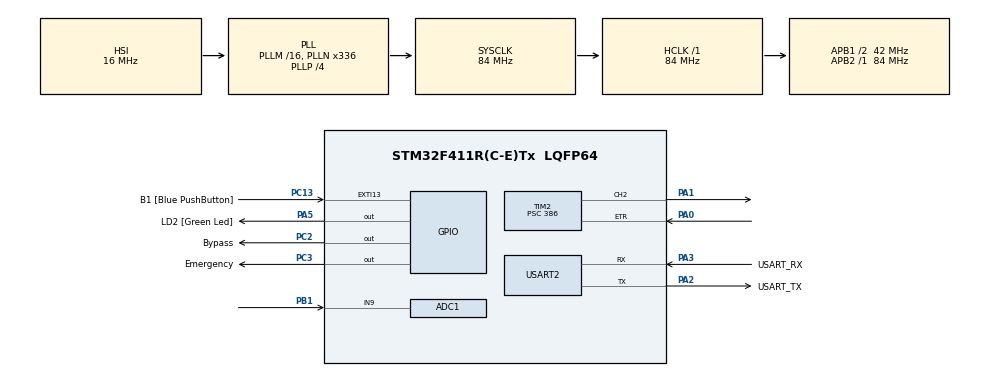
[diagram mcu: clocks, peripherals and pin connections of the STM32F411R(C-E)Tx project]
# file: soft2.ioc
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ADC1.Channel-0\#ChannelRegularConversion=ADC_CHANNEL_9
ADC1.NbrOfConversionFlag=1
ADC1.Rank-0\#ChannelRegularConversion=1
ADC1.SamplingTime-0\#ChannelRegularConversion=ADC_SAMPLETIME_3CYCLES
ADC1.master=1
Mcu.Family=STM32F4
Mcu.Name=STM32F411R(C-E)Tx
Mcu.Package=LQFP64
NVIC.PriorityGroup=NVIC_PRIORITYGROUP_0
NVIC.TIM2_IRQn=true\:0\:0\:false\:false\:true\:true\:true\:true
NVIC.TIM3_IRQn=true\:0\:0\:false\:false\:true\:true\:true\:true
NVIC.USART2_IRQn=true\:0\:0\:false\:false\:true\:true\:true\:true
PA0-WKUP.Signal=S_TIM2_CH1_ETR
PA1.Signal=S_TIM2_CH2
PA13.GPIO_Label=TMS
PA13.Mode=Serial_Wire
PA13.Signal=SYS_JTMS-SWDIO
PA14.GPIO_Label=TCK
PA14.Mode=Serial_Wire
PA14.Signal=SYS_JTCK-SWCLK
PA2.GPIO_Label=USART_TX
PA2.Mode=Asynchronous
PA2.Signal=USART2_TX
PA3.GPIO_Label=USART_RX
PA3.Mode=Asynchronous
PA3.Signal=USART2_RX
PA5.GPIO_Label=LD2 [Green Led]
PA5.Signal=GPIO_Output
PB1.Signal=ADCx_IN9
PB3.GPIO_Label=SWO
PB3.Signal=SYS_JTDO-SWO
PC13-ANTI_TAMP.GPIO_Label=B1 [Blue PushButton]
PC13-ANTI_TAMP.GPIO_ModeDefaultEXTI=GPIO_MODE_IT_FALLING
PC13-ANTI_TAMP.Signal=GPXTI13
PC14-OSC32_IN.Mode=LSE-External-Oscillator
PC14-OSC32_IN.Signal=RCC_OSC32_IN
PC15-OSC32_OUT.Mode=LSE-External-Oscillator
PC15-OSC32_OUT.Signal=RCC_OSC32_OUT
PC2.GPIO_Label=Bypass
PC2.Signal=GPIO_Output
PC3.GPIO_Label=Emergency
PC3.Signal=GPIO_Output
PH0\ -\ OSC_IN.Mode=HSE-External-Clock-Source
PH0\ -\ OSC_IN.Signal=RCC_OSC_IN
PH1\ -\ OSC_OUT.Mode=HSE-External-Clock-Source
PH1\ -\ OSC_OUT.Signal=RCC_OSC_OUT
ProjectManager.HeapSize=0x200
ProjectManager.StackSize=0x400
ProjectManager.TargetToolchain=STM32CubeIDE
RCC.48MHZClocksFreq_Value=84000000
RCC.AHBFreq_Value=84000000
RCC.APB1CLKDivider=RCC_HCLK_DIV2
RCC.APB1Freq_Value=42000000
RCC.APB1TimFreq_Value=84000000
RCC.APB2Freq_Value=84000000
RCC.APB2TimFreq_Value=84000000
RCC.CortexFreq_Value=84000000
RCC.FLatency-AdvancedSettings=FLASH_LATENCY_2
RCC.HCLKFreq_Value=84000000
RCC.HSE_VALUE=8000000
RCC.HSI_VALUE=16000000
RCC.PLLN=336
RCC.PLLP=RCC_PLLP_DIV4
RCC.SYSCLKFreq_VALUE=84000000
RCC.SYSCLKSource=RCC_SYSCLKSOURCE_PLLCLK
RCC.VCOOutputFreq_Value=336000000
SH.ADCx_IN9.0=ADC1_IN9,IN9
SH.S_TIM2_CH1_ETR.0=TIM2_ETR,TriggerSource_ETR
SH.S_TIM2_CH2.0=TIM2_CH2,Output Compare2 CH2
TIM2.Channel-Output\ Compare2\ CH2=TIM_CHANNEL_2
TIM2.OCMode_2=TIM_OCMODE_TOGGLE
TIM2.Period=1799
TIM2.Prescaler=386
TIM3.Period=112
TIM3.Prescaler=8399
USART2.VirtualMode=VM_ASYNC
VP_TIM2_VS_ClockSourceINT.Mode=Internal
VP_TIM2_VS_ControllerModeTrigger.Mode=Trigger Mode
VP_TIM2_VS_OPM.Mode=OPM_bit
VP_TIM3_VS_ClockSourceINT.Mode=Internal
board=NUCLEO-F411RE

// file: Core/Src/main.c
/* USER CODE BEGIN Header */
/**
  ******************************************************************************
  * @file           : main.c
  * @brief          : SoftStarter with STM32CubeMonitor IHM.
  * @author 	    : Maicon Stoffel / 4422 / 2024
  ******************************************************************************
  * @attention
  *
  * Copyright (c) 2024 STMicroelectronics.
  * All rights reserved.
  *
  * This software is licensed under terms that can be found in the LICENSE file
  * in the root directory of this software component.
  * If no LICENSE file comes with this software, it is provided AS-IS.
  *
  ******************************************************************************
  */
/* USER CODE END Header */
#include "main.h"
#include "adc.h"
#include "tim.h"
#include "usart.h"
#include "gpio.h"

/* USER CODE BEGIN Includes */
#include <stdio.h>
#include <string.h>
/* USER CODE END Includes */

/* USER CODE BEGIN PV */
uint16_t testeADC = 0;
uint8_t botao=0, rx_data[3] = {0,0,0}, feliz=0, multiplica=100;
uint8_t tx_data[1] = { 49 };  // 49 é o valor ASCII para o caractere '1'
float voltage = 0;
char buffer[50];

//RAMPAS

int ANGULO_MIN=30;  //ANGULO QUE A SENOIDA VAI BATER QUANDO VAI A ESQUERDA
int ANGULO_MAX=170; //ANGULO MAIS A DIREITA "PARTIDA"
int tempoSubida=10; //setando o tempo de 10s como "padrao" para caso o usuario ligue direto
int tempoDescida=10; //setando o tempo de 10s como "padrao" para caso o usuario ligue direto

//POTENCIA

int angulo = 170;
uint32_t ARR = 0, CCR = 0, AutoReload=0;
uint8_t borda=0;
int estado_motor=0;
int bypass_ativo=0;

/* USER CODE END PV */

void SystemClock_Config(void);

int main(void)
{

  /* USER CODE BEGIN 1 */

/*
 * mantem o valor escolhido do angulo_max pela IHM diretamente no valor de angulo
 * utilizado no codigo e no circuito.
 */

    angulo = ANGULO_MAX;

  /* USER CODE END 1 */

  /* MCU Configuration--------------------------------------------------------*/

  /* Reset of all peripherals, Initializes the Flash interface and the Systick. */
  HAL_Init();

  /* Configure the system clock */
  SystemClock_Config();

  /* Initialize all configured peripherals */
  MX_GPIO_Init();
  MX_USART2_UART_Init();
  MX_ADC1_Init();
  MX_TIM2_Init();
  MX_TIM3_Init();
  /* USER CODE BEGIN 2 */

  HAL_TIM_OC_Start_IT(&htim2, TIM_CHANNEL_2);
  HAL_TIM_Base_Start_IT(&htim3);
  HAL_TIM_Base_Start_IT(&htim2);

  //HAL_TIM_Base_Start(&htim2);

  /* USER CODE END 2 */

  /* Infinite loop */
  /* USER CODE BEGIN WHILE */

  __HAL_TIM_SET_COMPARE(&htim2,TIM_CHANNEL_2,1799);

  while (1)
  {

      HAL_UART_Receive_IT(&huart2,rx_data,3);

/*
 * 	ativando o BYPASS a partir do momento que o angulo == angulo_min(30).
 * 	tambem estou desligando o output compare para retirar o circuito de potencia quando o bypass
 * 	fica ativo, seria inutil nao desligar o OC quando o bypass esta ativo. Para verificar se isso
 * 	realmente acontecia eu liguei o motor e esperei o bypass ficar ativo, em seguida retirei o pino
 * 	de bypass do circuito e o motor desligou automaticamente, significando que nao havia mais nenhum
 * 	acionamento nele sem que fosse o de bypass.
 */
	   if (angulo == ANGULO_MIN && bypass_ativo == 0) {
	       HAL_GPIO_WritePin(GPIOC, Bypass_Pin, GPIO_PIN_SET);
	       HAL_TIM_OC_Stop(&htim2, TIM_CHANNEL_2);
	       bypass_ativo = 1;
	       }
/*
 * verificando se o pino de emergencia esta ou nao ativo para desligar automaticamente o bypass quando
 * a emergencia ativar, seria impossivel utilizar o circuito de emergencia com o bypass ativo. Abaixo
 * tambem ligamos o Output Compare novamente para que o circuito possa funcionar normalmente para fazer
 * a etapa da rampa de descida.
 */
	  if ((HAL_GPIO_ReadPin(Emergency_GPIO_Port, Emergency_Pin) == GPIO_PIN_SET && bypass_ativo) || angulo > ANGULO_MIN) {
	       HAL_GPIO_WritePin(GPIOC, Bypass_Pin, GPIO_PIN_RESET);
	       bypass_ativo = 0;
	       }

	  if(rx_data[0] == '2' && angulo == ANGULO_MAX){
	       HAL_TIM_OC_Stop(&htim2, TIM_CHANNEL_2);
	       memset(rx_data,0,3);//zerando os valores do vetor
	       angulo = ANGULO_MAX;
	  }

/*
 * 	Rampa de subida do motor travada em no maximo 150% de corrente,
 * ou seja, o motor nao irá passar dessa corrente enquanto estiver na
 * fase de subida. Travamos o angulo e a contagem do OC, fazendo com
 * que o PPM fique travado no mesmo valor até que o valor de corrente
 * desça para menos que 150%, infelizmente dessa maneira perdemos um
 * pouco da precisao da escolha do tempo da rampa de subida, mas
 * nao da pra ter tudo né?
 *
 */

	  if(rx_data[0] == '1' && voltage>3.1){
	      angulo=angulo;
	      HAL_TIM_Base_Stop(&htim3);
	  }else if(rx_data[0] == '1' && voltage<3.1){
	       HAL_TIM_Base_Start(&htim3);

	  }

/*
 * verificando o valor que recebo pela serial para ligar/desligar o motor.
 */
	  if(rx_data[0] == '2'){
	       estado_motor=0;
	      }
	  else if(rx_data[0] == '1'){
		  estado_motor=1;
		  HAL_TIM_OC_Start_IT(&htim2, TIM_CHANNEL_2);

	  }

/*
* Codigo de uso do ADC e abaixo codigo para enviar pela serial para o CubeMonitor.
*/
	  HAL_ADC_Start(&hadc1);
	  HAL_ADC_PollForConversion(&hadc1, 300);
	      testeADC = HAL_ADC_GetValue(&hadc1);

	      voltage = (float)testeADC *(3.3/4095);

	      if (voltage > 3.29 && angulo == ANGULO_MIN) {
	    	  HAL_GPIO_WritePin(Emergency_GPIO_Port, Emergency_Pin, GPIO_PIN_SET);
                  HAL_UART_Transmit(&huart2, tx_data, sizeof(tx_data), 10);
	      }
/*
 * verifica se o botao Reset_emergency foi acionado na IHM, tambem define valor de angulo_max
 * para que quando o motor saia do emergencia nao saia acioanando direto, isso garante que o motor
 * ficara desligado depois do emergencia ser acionado
 */
	      if (rx_data[0] == '3'){
	          HAL_GPIO_WritePin(Emergency_GPIO_Port, Emergency_Pin, GPIO_PIN_RESET);
	          angulo=ANGULO_MAX;
		      HAL_TIM_OC_Stop(&htim2, TIM_CHANNEL_2);
	      }

	  HAL_Delay(100);

    /* USER CODE END WHILE */

    /* USER CODE BEGIN 3 */
  }//while
  /* USER CODE END 3 */
}

void SystemClock_Config(void)
{
  RCC_OscInitTypeDef RCC_OscInitStruct = {0};
  RCC_ClkInitTypeDef RCC_ClkInitStruct = {0};

  /** Configure the main internal regulator output voltage
  */
  __HAL_RCC_PWR_CLK_ENABLE();
  __HAL_PWR_VOLTAGESCALING_CONFIG(PWR_REGULATOR_VOLTAGE_SCALE1);

  /** Initializes the RCC Oscillators according to the specified parameters
  * in the RCC_OscInitTypeDef structure.
  */
  RCC_OscInitStruct.OscillatorType = RCC_OSCILLATORTYPE_HSI;
  RCC_OscInitStruct.HSIState = RCC_HSI_ON;
  RCC_OscInitStruct.HSICalibrationValue = RCC_HSICALIBRATION_DEFAULT;
  RCC_OscInitStruct.PLL.PLLState = RCC_PLL_ON;
  RCC_OscInitStruct.PLL.PLLSource = RCC_PLLSOURCE_HSI;
  RCC_OscInitStruct.PLL.PLLM = 16;
  RCC_OscInitStruct.PLL.PLLN = 336;
  RCC_OscInitStruct.PLL.PLLP = RCC_PLLP_DIV4;
  RCC_OscInitStruct.PLL.PLLQ = 4;
  if (HAL_RCC_OscConfig(&RCC_OscInitStruct) != HAL_OK)
  {
    Error_Handler();
  }

  /** Initializes the CPU, AHB and APB buses clocks
  */
  RCC_ClkInitStruct.ClockType = RCC_CLOCKTYPE_HCLK|RCC_CLOCKTYPE_SYSCLK
                              |RCC_CLOCKTYPE_PCLK1|RCC_CLOCKTYPE_PCLK2;
  RCC_ClkInitStruct.SYSCLKSource = RCC_SYSCLKSOURCE_PLLCLK;
  RCC_ClkInitStruct.AHBCLKDivider = RCC_SYSCLK_DIV1;
  RCC_ClkInitStruct.APB1CLKDivider = RCC_HCLK_DIV2;
  RCC_ClkInitStruct.APB2CLKDivider = RCC_HCLK_DIV1;

  if (HAL_RCC_ClockConfig(&RCC_ClkInitStruct, FLASH_LATENCY_2) != HAL_OK)
  {
    Error_Handler();
  }
}

/* USER CODE BEGIN 4 */
/*
 * 				*SERIAL*
 *
 * CallBack do recebimento da UART, "rx_data" recebe pela serial do
 * STMCubeMonitor para realizarmos o tratamento das informacoes rebecidas.
 *
 *  Como temos alguns botoes na IHM, foi configurado para que cada botao
 *  retorne um numero caso seja precionado, a seguir a configuracao
 *  dos botoes:
 *
 *  Foi necessário efetuar o tratamento do valor desses botoes por JavaScript
 *  na IHM, pois quando enviamos pela serial o valor de subida ou descida esse
 *  valor chega no código com uma letra antes do seu número: (D) Descida
 *  (S) Subida e (A) Angulo e com mais 2 numeros logo atras, preenchendo o nosso
 *  vetor de 3 posicoes (rx_data). É necessário colocar o numero dos botoes
 *  enviado pela IHM para preencherem um vetor de 3 posicoes também, para isso
 *  coloquei eles como 100, 200 e 300, como poderemos ver a seguir:
 *
 *  Recebimento na Serial:
 *
 *      B1 -> IHM -> ==  200 ->Desligar o motor
 * 	B2 -> IHM -> ==  100 ->Ligar o motor
 * 	B3 -> IHM -> ==  300 -> Reset_Emergency
 *
 *	SLIDER1 -> IHM == Tempo_Descida
 *	SLIDER2 -> IHM == Tempo_Subida
 *	SLIDER3 -> IHM == Angulo_Subida
 *
 */
void HAL_UART_RxCpltCallback(UART_HandleTypeDef *huart)
{

	if(angulo == ANGULO_MAX){
        if(rx_data[0] == 'S'){
        			tempoSubida = 0;	// reset value
        			tempoSubida += (rx_data[1] - '0') * 10; // first digit
        			tempoSubida += rx_data[2] - '0'; // second digit
        		}
        else if(rx_data[0] == 'D'){
        			tempoDescida = 0;	// reset value
        			tempoDescida += (rx_data[1] - '0') * 10; // first digit
        			tempoDescida += rx_data[2] - '0'; // second digit
        		}
        else if(rx_data[0]=='A'){
        	ANGULO_MAX = 0;	// reset value
        	ANGULO_MAX += (rx_data[1] - '0') * 10; // first digit
        	ANGULO_MAX += rx_data[2] - '0'; // second digit
        	ANGULO_MAX = ((ANGULO_MAX*-1) + 180);
        	angulo = ANGULO_MAX;
	    }

	}//if1

}//void

//CALLBACK INPUT CAPTURE

void HAL_TIM_OC_DelayElapsedCallback(TIM_HandleTypeDef *htim){

/*
 * quando recebe 1, faz o calculo para trocar o valor do ARR do Output Compare com base no valor
 * do tempo de subida, quando recebe 2 faz a mesma coisa para valor de tempo de descida.
 */

	  if(rx_data[0]=='1'){
		  AutoReload=((84000000*tempoSubida/(ANGULO_MAX-ANGULO_MIN))/8399);
		  __HAL_TIM_SET_AUTORELOAD(&htim3, AutoReload);
	  }else if(rx_data[0] == '2'){
		  AutoReload=((84000000*tempoDescida/(ANGULO_MAX-ANGULO_MIN))/8399);
		  __HAL_TIM_SET_AUTORELOAD(&htim3, AutoReload);
	  }

	if(borda==0){
	 __HAL_TIM_SET_COMPARE(&htim2,TIM_CHANNEL_2, ((angulo*10)+25));
	 borda=1;
	}
		  CCR=htim2.Instance->CCR2;
		  ARR=htim2.Instance->CNT;

}//void

void HAL_TIM_PeriodElapsedCallback(TIM_HandleTypeDef *htim){
/*
 * tim3 conta o tempo do decremento do angulo
 */
	if(htim->Instance == TIM3 && rx_data[0]=='1'){
		angulo--;
		if(angulo<ANGULO_MIN){
		angulo=ANGULO_MIN;
		}

	}else if (htim->Instance == TIM3 && rx_data[0]=='2'){
		angulo++;

	if(angulo>ANGULO_MAX){
		angulo=ANGULO_MAX;
	}
	}

	if(htim->Instance == TIM2){
		borda=0;
		__HAL_TIM_SET_COMPARE(&htim2,TIM_CHANNEL_2,angulo*10);
		htim2.Instance->CCMR1 |= TIM_CCMR1_OC2CE;
	    }
}//void

/* USER CODE END 4 */

void Error_Handler(void)
{
  __disable_irq();
  while (1)
  {
  }
}
